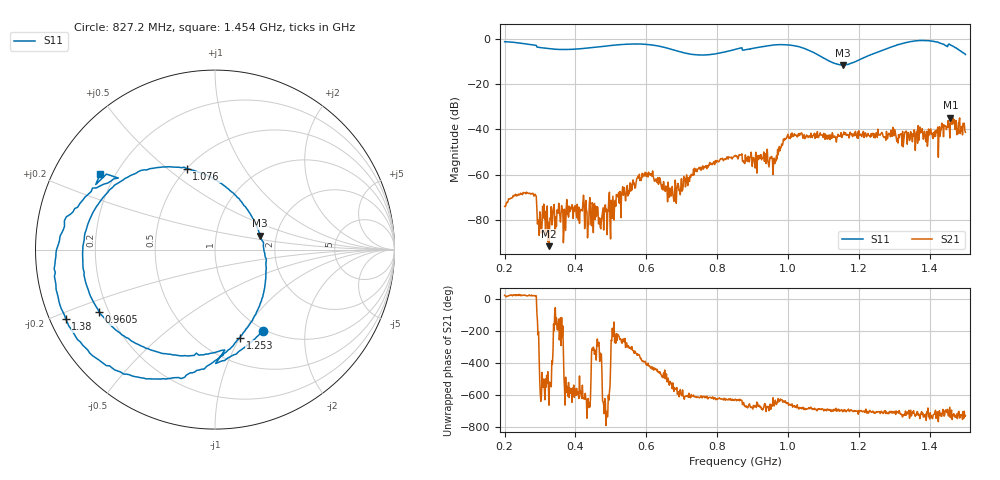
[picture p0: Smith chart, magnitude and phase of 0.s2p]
! NanoVNA-App
! Date: 2024-06-25 16:49:37
! Start: 200MHz Stop: 1.5GHz Points: 801
! S-Parameter data: F S11 S21 S12 S22
# Hz S RI R 50
!  Frequency  S11_Real  S11_Imag  S21_Real  S21_Imag  S12_Real  S12_Imag  S22_Real  S22_Imag
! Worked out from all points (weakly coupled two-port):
!   801 points, 200 MHz to 1.5 GHz, reference 50 ohm
!   highest |S21| = -34.74 dB at 1.458 GHz (marker M1); lowest = -91.5 dB at 325.1 MHz (marker M2)
!   lowest |S11| = -11.6 dB at 1.155 GHz (marker M3), VSWR 1.71, Z = 82.1 + j13.7 ohm
!   |S11| at or under -10 dB: 1.118 GHz to 1.191 GHz (72.95 MHz wide, 6.32 % of centre)
!   S12 and S22 are empty: the file has one direction only
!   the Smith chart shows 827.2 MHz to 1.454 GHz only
!   S11 on the Smith chart (normalised r, x): 827.2 MHz: 0.97, -1.22; 960.5 MHz: 0.16, -0.25; 1.076 GHz: 0.50, +0.58; 1.253 GHz: 0.75, -1.00; 1.38 GHz: 0.05, -0.22; 1.454 GHz: 0.14, +0.30
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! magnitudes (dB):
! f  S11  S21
! 200 MHz  -1.3  -74.0
! 274.8 MHz  -2.6  -68.3
! 299.1 MHz  -3.8  -76.4
! 325.1 MHz  -4.4  -91.5
! 417.8 MHz  -4.3  -75.6
! 473 MHz  -3.4  -80.5
! 581.9 MHz  -2.3  -62.6
! 633.9 MHz  -3.2  -64.2
! 672.9 MHz  -4.7  -65.1
! 827.2 MHz  -5.6  -52.1
! 850 MHz  -4.7  -51.5
! 960.5 MHz  -2.7  -52.7
! 993 MHz  -2.6  -44.0
! 1.068 GHz  -5.8  -43.6
! 1.076 GHz  -6.4  -44.0
! 1.155 GHz  -11.6  -42.2
! 1.253 GHz  -5.9  -39.9
! 1.284 GHz  -4.0  -41.7
! 1.38 GHz  -0.8  -42.2
! 1.454 GHz  -2.3  -37.7
! 1.458 GHz  -2.8  -34.7
! 1.5 GHz  -6.9  -41.3
